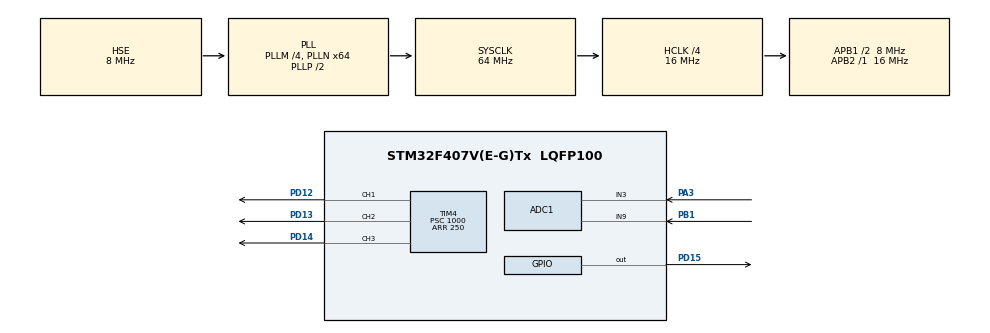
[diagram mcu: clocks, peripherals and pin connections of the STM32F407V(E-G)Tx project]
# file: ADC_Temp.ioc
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ADC1.Channel-1\#ChannelRegularConversion=ADC_CHANNEL_9
ADC1.Channel-2\#ChannelRegularConversion=ADC_CHANNEL_3
ADC1.Channel-3\#ChannelRegularConversion=ADC_CHANNEL_TEMPSENSOR
ADC1.ClockPrescaler=ADC_CLOCK_SYNC_PCLK_DIV8
ADC1.ContinuousConvMode=ENABLE
ADC1.InjNumberOfConversion=0
ADC1.NbrOfConversion=3
ADC1.NbrOfConversionFlag=1
ADC1.Rank-1\#ChannelRegularConversion=1
ADC1.Rank-2\#ChannelRegularConversion=2
ADC1.Rank-3\#ChannelRegularConversion=3
ADC1.SamplingTime-1\#ChannelRegularConversion=ADC_SAMPLETIME_144CYCLES
ADC1.SamplingTime-2\#ChannelRegularConversion=ADC_SAMPLETIME_112CYCLES
ADC1.SamplingTime-3\#ChannelRegularConversion=ADC_SAMPLETIME_112CYCLES
ADC1.ScanConvMode=ENABLE
ADC1.master=1
Mcu.Family=STM32F4
Mcu.Name=STM32F407V(E-G)Tx
Mcu.Package=LQFP100
NVIC.ADC_IRQn=true\:0\:0\:false\:false\:true\:true\:true
NVIC.PriorityGroup=NVIC_PRIORITYGROUP_4
PA3.Signal=ADCx_IN3
PB1.Signal=ADCx_IN9
PD12.Signal=S_TIM4_CH1
PD13.Signal=S_TIM4_CH2
PD14.Signal=S_TIM4_CH3
PD15.Signal=GPIO_Output
PH0-OSC_IN.Mode=HSE-External-Oscillator
PH0-OSC_IN.Signal=RCC_OSC_IN
PH1-OSC_OUT.Mode=HSE-External-Oscillator
PH1-OSC_OUT.Signal=RCC_OSC_OUT
ProjectManager.HeapSize=0x200
ProjectManager.StackSize=0x400
ProjectManager.TargetToolchain=STM32CubeIDE
RCC.48MHZClocksFreq_Value=32000000
RCC.AHBCLKDivider=RCC_SYSCLK_DIV4
RCC.AHBFreq_Value=16000000
RCC.APB1CLKDivider=RCC_HCLK_DIV2
RCC.APB1Freq_Value=8000000
RCC.APB1TimFreq_Value=16000000
RCC.APB2Freq_Value=16000000
RCC.APB2TimFreq_Value=16000000
RCC.CortexFreq_Value=16000000
RCC.HCLKFreq_Value=16000000
RCC.HSE_VALUE=8000000
RCC.HSI_VALUE=16000000
RCC.LSE_VALUE=32768
RCC.PLLM=4
RCC.PLLN=64
RCC.PLLSourceVirtual=RCC_PLLSOURCE_HSE
RCC.SYSCLKFreq_VALUE=64000000
RCC.SYSCLKSource=RCC_SYSCLKSOURCE_PLLCLK
RCC.VCOOutputFreq_Value=128000000
SH.ADCx_IN3.0=ADC1_IN3,IN3
SH.ADCx_IN9.0=ADC1_IN9,IN9
SH.S_TIM4_CH1.0=TIM4_CH1,PWM Generation1 CH1
SH.S_TIM4_CH2.0=TIM4_CH2,PWM Generation2 CH2
SH.S_TIM4_CH3.0=TIM4_CH3,PWM Generation3 CH3
TIM4.Channel-PWM\ Generation1\ CH1=TIM_CHANNEL_1
TIM4.Channel-PWM\ Generation2\ CH2=TIM_CHANNEL_2
TIM4.Channel-PWM\ Generation3\ CH3=TIM_CHANNEL_3
TIM4.Period=250
TIM4.Prescaler=1000
VP_ADC1_TempSens_Input.Mode=IN-TempSens
VP_TIM4_VS_ClockSourceINT.Mode=Internal
board=custom

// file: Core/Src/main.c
/* USER CODE BEGIN Header */
/**
  ******************************************************************************
  * @file           : main.c
  * @brief          : Main program body
  ******************************************************************************
  * @attention
  *
  * <h2><center>&copy; Copyright (c) 2023 STMicroelectronics.
  * All rights reserved.</center></h2>
  *
  * This software component is licensed by ST under BSD 3-Clause license,
  * the "License"; You may not use this file except in compliance with the
  * License. You may obtain a copy of the License at:
  *                        opensource.org/licenses/BSD-3-Clause
  *
  ******************************************************************************
  */
/* USER CODE END Header */
#include "main.h"

ADC_HandleTypeDef hadc1;

TIM_HandleTypeDef htim4;

/* USER CODE BEGIN PV */
void ADC_Select_CHTemp (void);
void ADC_Select_CH9 (void);
void ADC_Select_CH3 (void);
/* USER CODE END PV */

void SystemClock_Config(void);
static void MX_GPIO_Init(void);
static void MX_ADC1_Init(void);
static void MX_TIM4_Init(void);
/* USER CODE BEGIN PFP */
uint8_t adc_ch_rank = 0;
uint32_t adc_tempsensor_result = 0;
uint32_t adc_potmeter_result = 0;
uint32_t adc_tempchip_result = 0;
/* USER CODE END PFP */

int main(void)
{

  /* MCU Configuration--------------------------------------------------------*/

  /* Reset of all peripherals, Initializes the Flash interface and the Systick. */
  HAL_Init();

  /* Configure the system clock */
  SystemClock_Config();

  /* Initialize all configured peripherals */
  MX_GPIO_Init();
  MX_ADC1_Init();
  MX_TIM4_Init();
  /* USER CODE BEGIN 2 */
  HAL_ADC_Start(&hadc1);
  /* USER CODE END 2 */

  /* Infinite loop */
  while (1)
  {

    /* USER CODE BEGIN 3 */
	  ADC_Select_CH9();
	  		  HAL_ADC_Start(&hadc1);
	  		  HAL_ADC_PollForConversion(&hadc1, 1000);
	  		  adc_tempsensor_result = HAL_ADC_GetValue(&hadc1);
	  		  HAL_ADC_Stop(&hadc1);

	  		  ADC_Select_CH3();
	  		  HAL_ADC_Start(&hadc1);
	  		  HAL_ADC_PollForConversion(&hadc1, 1000);
	  		  adc_potmeter_result = HAL_ADC_GetValue(&hadc1);
	  		  HAL_ADC_Stop(&hadc1);

	  		  ADC_Select_CHTemp();
	  		  HAL_ADC_Start(&hadc1);
	  		  HAL_ADC_PollForConversion(&hadc1, 1000);
	  		  adc_tempchip_result = HAL_ADC_GetValue(&hadc1);
	  		  HAL_ADC_Stop(&hadc1);

	  		  double temp_tempchip = ((((3.3*adc_tempchip_result)/4095) - 0.76)/0.0025)+25.0;
	//  		  HAL_Delay (1000);
  }
  /* USER CODE END 3 */
}

void SystemClock_Config(void)
{
  RCC_OscInitTypeDef RCC_OscInitStruct = {0};
  RCC_ClkInitTypeDef RCC_ClkInitStruct = {0};

  /** Configure the main internal regulator output voltage
  */
  __HAL_RCC_PWR_CLK_ENABLE();
  __HAL_PWR_VOLTAGESCALING_CONFIG(PWR_REGULATOR_VOLTAGE_SCALE1);
  /** Initializes the RCC Oscillators according to the specified parameters
  * in the RCC_OscInitTypeDef structure.
  */
  RCC_OscInitStruct.OscillatorType = RCC_OSCILLATORTYPE_HSE;
  RCC_OscInitStruct.HSEState = RCC_HSE_ON;
  RCC_OscInitStruct.PLL.PLLState = RCC_PLL_ON;
  RCC_OscInitStruct.PLL.PLLSource = RCC_PLLSOURCE_HSE;
  RCC_OscInitStruct.PLL.PLLM = 4;
  RCC_OscInitStruct.PLL.PLLN = 64;
  RCC_OscInitStruct.PLL.PLLP = RCC_PLLP_DIV2;
  RCC_OscInitStruct.PLL.PLLQ = 4;
  if (HAL_RCC_OscConfig(&RCC_OscInitStruct) != HAL_OK)
  {
    Error_Handler();
  }
  /** Initializes the CPU, AHB and APB buses clocks
  */
  RCC_ClkInitStruct.ClockType = RCC_CLOCKTYPE_HCLK|RCC_CLOCKTYPE_SYSCLK
                              |RCC_CLOCKTYPE_PCLK1|RCC_CLOCKTYPE_PCLK2;
  RCC_ClkInitStruct.SYSCLKSource = RCC_SYSCLKSOURCE_PLLCLK;
  RCC_ClkInitStruct.AHBCLKDivider = RCC_SYSCLK_DIV4;
  RCC_ClkInitStruct.APB1CLKDivider = RCC_HCLK_DIV2;
  RCC_ClkInitStruct.APB2CLKDivider = RCC_HCLK_DIV1;

  if (HAL_RCC_ClockConfig(&RCC_ClkInitStruct, FLASH_LATENCY_0) != HAL_OK)
  {
    Error_Handler();
  }
}

static void MX_ADC1_Init(void)
{

  ADC_ChannelConfTypeDef sConfig = {0};

  /** Configure the global features of the ADC (Clock, Resolution, Data Alignment and number of conversion)
  */
  hadc1.Instance = ADC1;
  hadc1.Init.ClockPrescaler = ADC_CLOCK_SYNC_PCLK_DIV8;
  hadc1.Init.Resolution = ADC_RESOLUTION_12B;
  hadc1.Init.ScanConvMode = ENABLE;
  hadc1.Init.ContinuousConvMode = ENABLE;
  hadc1.Init.DiscontinuousConvMode = DISABLE;
  hadc1.Init.ExternalTrigConvEdge = ADC_EXTERNALTRIGCONVEDGE_NONE;
  hadc1.Init.ExternalTrigConv = ADC_SOFTWARE_START;
  hadc1.Init.DataAlign = ADC_DATAALIGN_RIGHT;
  hadc1.Init.NbrOfConversion = 3;
  hadc1.Init.DMAContinuousRequests = DISABLE;
  hadc1.Init.EOCSelection = ADC_EOC_SINGLE_CONV;
  if (HAL_ADC_Init(&hadc1) != HAL_OK)
  {
    Error_Handler();
  }
  //
  //  /** Configure for the selected ADC regular channel its corresponding rank in the sequencer and its sample time.
  //  */
  //  sConfig.Channel = ADC_CHANNEL_9;
  //  sConfig.Rank = 1;
  //  sConfig.SamplingTime = ADC_SAMPLETIME_144CYCLES;
  //  if (HAL_ADC_ConfigChannel(&hadc1, &sConfig) != HAL_OK)
  //  {
  //    Error_Handler();
  //  }
  /** Configure for the selected ADC regular channel its corresponding rank in the sequencer and its sample time.
  */
  //  sConfig.Channel = ADC_CHANNEL_3;
  //  sConfig.Rank = 2;
  //  sConfig.SamplingTime = ADC_SAMPLETIME_112CYCLES;
  //  if (HAL_ADC_ConfigChannel(&hadc1, &sConfig) != HAL_OK)
  //  {
  //    Error_Handler();
  //  }
  /** Configure for the selected ADC regular channel its corresponding rank in the sequencer and its sample time.
  */
  //  sConfig.Channel = ADC_CHANNEL_TEMPSENSOR;
  //  sConfig.Rank = 3;
  //  if (HAL_ADC_ConfigChannel(&hadc1, &sConfig) != HAL_OK)
  //  {
  //    Error_Handler();
  //  }

}

static void MX_TIM4_Init(void)
{

  TIM_ClockConfigTypeDef sClockSourceConfig = {0};
  TIM_MasterConfigTypeDef sMasterConfig = {0};
  TIM_OC_InitTypeDef sConfigOC = {0};

  htim4.Instance = TIM4;
  htim4.Init.Prescaler = 1000;
  htim4.Init.CounterMode = TIM_COUNTERMODE_UP;
  htim4.Init.Period = 250;
  htim4.Init.ClockDivision = TIM_CLOCKDIVISION_DIV1;
  htim4.Init.AutoReloadPreload = TIM_AUTORELOAD_PRELOAD_DISABLE;
  if (HAL_TIM_Base_Init(&htim4) != HAL_OK)
  {
    Error_Handler();
  }
  sClockSourceConfig.ClockSource = TIM_CLOCKSOURCE_INTERNAL;
  if (HAL_TIM_ConfigClockSource(&htim4, &sClockSourceConfig) != HAL_OK)
  {
    Error_Handler();
  }
  if (HAL_TIM_PWM_Init(&htim4) != HAL_OK)
  {
    Error_Handler();
  }
  sMasterConfig.MasterOutputTrigger = TIM_TRGO_RESET;
  sMasterConfig.MasterSlaveMode = TIM_MASTERSLAVEMODE_DISABLE;
  if (HAL_TIMEx_MasterConfigSynchronization(&htim4, &sMasterConfig) != HAL_OK)
  {
    Error_Handler();
  }
  sConfigOC.OCMode = TIM_OCMODE_PWM1;
  sConfigOC.Pulse = 0;
  sConfigOC.OCPolarity = TIM_OCPOLARITY_HIGH;
  sConfigOC.OCFastMode = TIM_OCFAST_DISABLE;
  if (HAL_TIM_PWM_ConfigChannel(&htim4, &sConfigOC, TIM_CHANNEL_1) != HAL_OK)
  {
    Error_Handler();
  }
  if (HAL_TIM_PWM_ConfigChannel(&htim4, &sConfigOC, TIM_CHANNEL_2) != HAL_OK)
  {
    Error_Handler();
  }
  if (HAL_TIM_PWM_ConfigChannel(&htim4, &sConfigOC, TIM_CHANNEL_3) != HAL_OK)
  {
    Error_Handler();
  }
  HAL_TIM_MspPostInit(&htim4);

}

static void MX_GPIO_Init(void)
{
  GPIO_InitTypeDef GPIO_InitStruct = {0};

  /* GPIO Ports Clock Enable */
  __HAL_RCC_GPIOH_CLK_ENABLE();
  __HAL_RCC_GPIOA_CLK_ENABLE();
  __HAL_RCC_GPIOB_CLK_ENABLE();
  __HAL_RCC_GPIOD_CLK_ENABLE();

  /*Configure GPIO pin Output Level */
  HAL_GPIO_WritePin(GPIOD, GPIO_PIN_15, GPIO_PIN_RESET);

  /*Configure GPIO pin : PD15 */
  GPIO_InitStruct.Pin = GPIO_PIN_15;
  GPIO_InitStruct.Mode = GPIO_MODE_OUTPUT_PP;
  GPIO_InitStruct.Pull = GPIO_NOPULL;
  GPIO_InitStruct.Speed = GPIO_SPEED_FREQ_LOW;
  HAL_GPIO_Init(GPIOD, &GPIO_InitStruct);

}

/* USER CODE BEGIN 4 */
void ADC_Select_CH9 (void)
{
	ADC_ChannelConfTypeDef sConfig = {0};
	  /** Configure for the selected ADC regular channel its corresponding rank in the sequencer and its sample time.
	  */
	  sConfig.Channel = ADC_CHANNEL_9;
	  sConfig.Rank = 1;
	  sConfig.SamplingTime = ADC_SAMPLETIME_480CYCLES;;
	  if (HAL_ADC_ConfigChannel(&hadc1, &sConfig) != HAL_OK)
	  {
	    Error_Handler();
	  }
}

void ADC_Select_CH3 (void)
{
	ADC_ChannelConfTypeDef sConfig = {0};
	  /** Configure for the selected ADC regular channel its corresponding rank in the sequencer and its sample time.
	  */
	  sConfig.Channel = ADC_CHANNEL_3;
	  sConfig.Rank = 1;
	  sConfig.SamplingTime = ADC_SAMPLETIME_480CYCLES;
	  if (HAL_ADC_ConfigChannel(&hadc1, &sConfig) != HAL_OK)
	  {
	    Error_Handler();
	  }
}

void ADC_Select_CHTemp (void)
{
	ADC_ChannelConfTypeDef sConfig = {0};
	  /** Configure for the selected ADC regular channel its corresponding rank in the sequencer and its sample time.
	  */
	  sConfig.Channel = ADC_CHANNEL_TEMPSENSOR;
	  sConfig.Rank = 1;
	  sConfig.SamplingTime = ADC_SAMPLETIME_480CYCLES;
	  if (HAL_ADC_ConfigChannel(&hadc1, &sConfig) != HAL_OK)
	  {
	    Error_Handler();
	  }
}
/* USER CODE END 4 */

void Error_Handler(void)
{
  __disable_irq();
  while (1)
  {
  }
}

/************************ (C) COPYRIGHT STMicroelectronics *****END OF FILE****/
